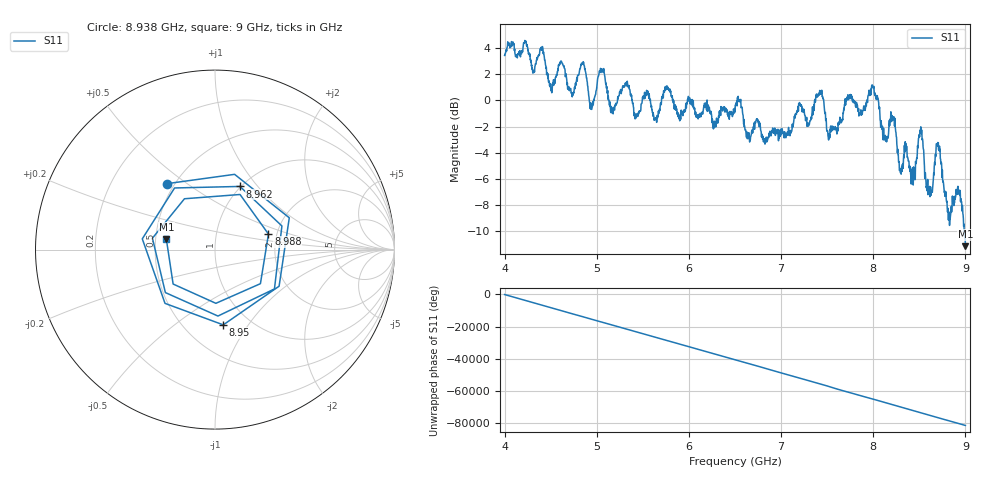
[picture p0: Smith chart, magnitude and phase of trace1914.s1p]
! Created with skrf 1.8.0 (http://scikit-rf.org).
# Hz S RI R 50.0
!freq ReS11 ImS11
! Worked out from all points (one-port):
!   1601 points, 4 GHz to 9 GHz, reference 50 ohm
!   lowest |S11| = -11.1 dB at 9 GHz (marker M1), VSWR 1.77, Z = 28.5 + j3.65 ohm
!   |S11| at or under -10 dB: 8.987071 GHz to 8.990937 GHz (3.866 MHz wide, 0.043 % of centre); 8.991023 GHz to end of sweep
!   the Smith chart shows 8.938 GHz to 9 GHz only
!   S11 on the Smith chart (normalised r, x): 8.938 GHz: 0.46, +0.42; 8.95 GHz: 0.76, -0.77; 8.962 GHz: 0.99, +0.81; 8.988 GHz: 1.81, +0.35; 9 GHz: 0.57, +0.07
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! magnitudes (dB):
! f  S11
! 4 GHz  3.4
! 4.625 GHz  2.9
! 4.728 GHz  0.6
! 4.853 GHz  2.8
! 4.944 GHz  -0.7
! 5.053 GHz  2.4
! 5.162 GHz  -0.5
! 5.25 GHz  0.7
! 5.875 GHz  -0.9
! 6.5 GHz  -0.9
! 7.125 GHz  -2.1
! 7.522 GHz  -2.8
! 7.75 GHz  0.4
! 7.997 GHz  1.0
! 8.128 GHz  -3.0
! 8.209 GHz  -1.5
! 8.294 GHz  -5.5
! 8.375 GHz  -4.4
! 8.431 GHz  -5.5
! 8.516 GHz  -2.0
! 8.619 GHz  -6.9
! 8.7 GHz  -3.2
! 8.819 GHz  -8.5
! 8.938 GHz  -6.9
! 8.95 GHz  -7.5
! 8.962 GHz  -8.4
! 8.988 GHz  -10.2
! 9 GHz  -11.1
